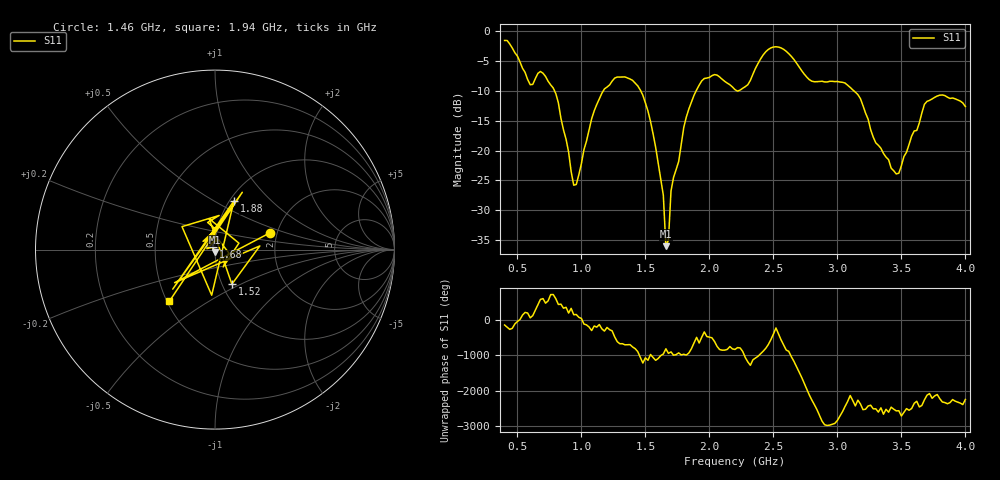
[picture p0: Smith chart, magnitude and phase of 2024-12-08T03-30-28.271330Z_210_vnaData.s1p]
!Created with skrf (http://scikit-rf.org).
# Hz S RI R 50.0
!freq ReS11 ImS11
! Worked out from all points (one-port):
!   181 points, 400 MHz to 4 GHz, reference 50 ohm
!   lowest |S11| = -36.0 dB at 1.66 GHz (marker M1), VSWR 1.03, Z = 49.7 - j1.55 ohm
!   |S11| at or under -10 dB: 790.5 MHz to 1.171 GHz (380.1 MHz wide, 38.8 % of centre); 1.464 GHz to 1.896 GHz (432.6 MHz wide, 25.8 % of centre); 3.13 GHz to end of sweep (the widest 3 of 4)
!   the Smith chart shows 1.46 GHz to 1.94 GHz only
!   S11 on the Smith chart (normalised r, x): 1.46 GHz: 1.84, +0.39; 1.52 GHz: 1.11, -0.45; 1.68 GHz: 0.98, +0.03; 1.88 GHz: 1.05, +0.62; 1.94 GHz: 0.52, -0.35
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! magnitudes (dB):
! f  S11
! 400 MHz  -1.5
! 600 MHz  -9.0
! 680 MHz  -6.7
! 780 MHz  -9.5
! 860 MHz  -16.5
! 940 MHz  -25.8
! 960 MHz  -25.7
! 1.12 GHz  -12.3
! 1.3 GHz  -7.7
! 1.46 GHz  -9.8
! 1.52 GHz  -13.4
! 1.64 GHz  -27.5
! 1.66 GHz  -36.0
! 1.68 GHz  -35.0
! 1.7 GHz  -26.8
! 1.76 GHz  -21.8
! 1.8 GHz  -16.1
! 1.88 GHz  -10.7
! 1.94 GHz  -8.3
! 2.2 GHz  -9.8
! 2.48 GHz  -2.8
! 2.66 GHz  -4.7
! 2.8 GHz  -8.4
! 3.1 GHz  -9.4
! 3.46 GHz  -23.9
! 3.56 GHz  -19.0
! 3.7 GHz  -11.8
! 4 GHz  -12.6
